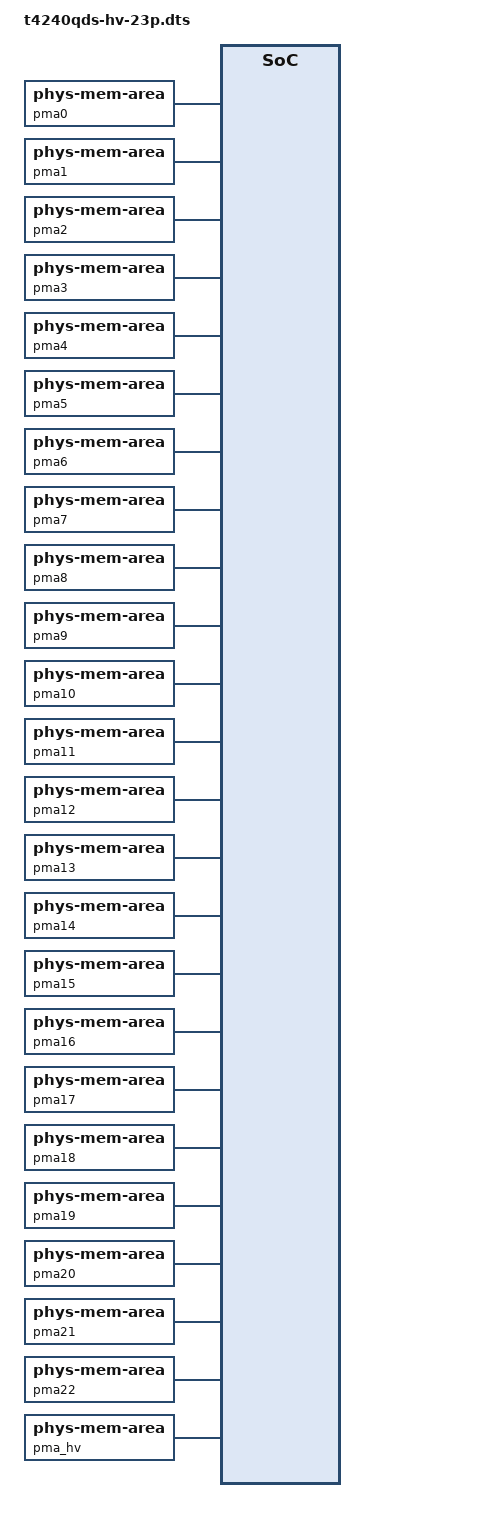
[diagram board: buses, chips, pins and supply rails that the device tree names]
/* Hypervisor Configuration tree containing all hypervisor configuration
 * parameters and partition definition information.
 * (Note -- Please refer to Hypervisor SW Reference Manual
 * (Chapter 5 Configuration) for further details)
 *
 * Copyright 2014 Freescale Semiconductor, Inc.
 */

/dts-v1/;

/ {
	compatible = "fsl,hv-config";
	pma0:pma0 {
		compatible = "phys-mem-area";
		addr = <0x0 0x00000000>;
		size = <0x0 0x10000000>;
	};
	pma1:pma1 {
		compatible = "phys-mem-area";
		addr = <0x0 0x10000000>;
		size = <0x0 0x10000000>;
	};
	pma2:pma2 {
		compatible = "phys-mem-area";
		addr = <0x0 0x20000000>;
		size = <0x0 0x10000000>;
	};
	pma3:pma3 {
		compatible = "phys-mem-area";
		addr = <0x0 0x30000000>;
		size = <0x0 0x10000000>;
	};
	pma4:pma4 {
		compatible = "phys-mem-area";
		addr = <0x0 0x40000000>;
		size = <0x0 0x10000000>;
	};
	pma5:pma5 {
		compatible = "phys-mem-area";
		addr = <0x0 0x50000000>;
		size = <0x0 0x10000000>;
	};
	pma6:pma6 {
		compatible = "phys-mem-area";
		addr = <0x0 0x60000000>;
		size = <0x0 0x10000000>;
	};
	pma7:pma7 {
		compatible = "phys-mem-area";
		addr = <0x0 0x70000000>;
		size = <0x0 0x10000000>;
	};
	pma8:pma8 {
		compatible = "phys-mem-area";
		addr = <0x0 0x80000000>;
		size = <0x0 0x10000000>;
	};
	pma9:pma9 {
		compatible = "phys-mem-area";
		addr = <0x0 0x90000000>;
		size = <0x0 0x10000000>;
	};
	pma10:pma10 {
		compatible = "phys-mem-area";
		addr = <0x0 0xa0000000>;
		size = <0x0 0x10000000>;
	};
	pma11:pma11 {
		compatible = "phys-mem-area";
		addr = <0x0 0xb0000000>;
		size = <0x0 0x10000000>;
	};
	pma12:pma12 {
		compatible = "phys-mem-area";
		addr = <0x0 0xc0000000>;
		size = <0x0 0x10000000>;
	};
	pma13:pma13 {
		compatible = "phys-mem-area";
		addr = <0x0 0xd0000000>;
		size = <0x0 0x10000000>;
	};
	pma14:pma14 {
		compatible = "phys-mem-area";
		addr = <0x0 0xe0000000>;
		size = <0x0 0x10000000>;
	};
	pma15:pma15 {
		compatible = "phys-mem-area";
		addr = <0x0 0xf0000000>;
		size = <0x0 0x10000000>;
	};
	pma16:pma16 {
		compatible = "phys-mem-area";
		addr = <0x1 0x00000000>;
		size = <0x0 0x10000000>;
	};
	pma17:pma17 {
		compatible = "phys-mem-area";
		addr = <0x1 0x10000000>;
		size = <0x0 0x10000000>;
	};
	pma18:pma18 {
		compatible = "phys-mem-area";
		addr = <0x1 0x20000000>;
		size = <0x0 0x10000000>;
	};
	pma19:pma19 {
		compatible = "phys-mem-area";
		addr = <0x1 0x30000000>;
		size = <0x0 0x10000000>;
	};
	pma20:pma20 {
		compatible = "phys-mem-area";
		addr = <0x1 0x40000000>;
		size = <0x0 0x10000000>;
	};
	pma21:pma21 {
		compatible = "phys-mem-area";
		addr = <0x1 0x50000000>;
		size = <0x0 0x10000000>;
	};
	pma22:pma22 {
		compatible = "phys-mem-area";
		addr = <0x1 0x60000000>;
		size = <0x0 0x10000000>;
	};

	pma_hv:pma_hv {
		compatible = "phys-mem-area";
		addr = <0x1 0x70000000>;
		size = <0x0 0x01000000>;
	};

	dma-windows {
		window0: window0 {
			compatible = "dma-window";
			guest-addr = <0x0 0x0>;
			size = <0x0 0x10000000>;
		};
		window1: window1 {
			compatible = "dma-window";
			guest-addr = <0x0 0x0>;
			size = <0x0 0x10000000>;
		};
		window2: window2 {
			compatible = "dma-window";
			guest-addr = <0x0 0x0>;
			size = <0x0 0x10000000>;
		};
		window3: window3 {
			compatible = "dma-window";
			guest-addr = <0x0 0x0>;
			size = <0x0 0x10000000>;
		};
		window4: window4 {
			compatible = "dma-window";
			guest-addr = <0x0 0x0>;
			size = <0x0 0x10000000>;
		};
		window5: window5 {
			compatible = "dma-window";
			guest-addr = <0x0 0x0>;
			size = <0x0 0x10000000>;
		};
		window6: window6 {
			compatible = "dma-window";
			guest-addr = <0x0 0x0>;
			size = <0x0 0x10000000>;
		};
		window7: window7 {
			compatible = "dma-window";
			guest-addr = <0x0 0x0>;
			size = <0x0 0x10000000>;
		};
		window8: window8 {
			compatible = "dma-window";
			guest-addr = <0x0 0x0>;
			size = <0x0 0x10000000>;
		};
		window9: window9 {
			compatible = "dma-window";
			guest-addr = <0x0 0x0>;
			size = <0x0 0x10000000>;
		};
		window10: window10 {
			compatible = "dma-window";
			guest-addr = <0x0 0x0>;
			size = <0x0 0x10000000>;
		};
		window11: window11 {
			compatible = "dma-window";
			guest-addr = <0x0 0x0>;
			size = <0x0 0x10000000>;
		};
		window12: window12 {
			compatible = "dma-window";
			guest-addr = <0x0 0x0>;
			size = <0x0 0x10000000>;
		};
		window13: window13 {
			compatible = "dma-window";
			guest-addr = <0x0 0x0>;
			size = <0x0 0x10000000>;
		};
		window14: window14 {
			compatible = "dma-window";
			guest-addr = <0x0 0x0>;
			size = <0x0 0x10000000>;
		};
		window15: window15 {
			compatible = "dma-window";
			guest-addr = <0x0 0x0>;
			size = <0x0 0x10000000>;
		};
		window16: window16 {
			compatible = "dma-window";
			guest-addr = <0x0 0x0>;
			size = <0x0 0x10000000>;
		};
		window17: window17 {
			compatible = "dma-window";
			guest-addr = <0x0 0x0>;
			size = <0x0 0x10000000>;
		};
		window18: window18 {
			compatible = "dma-window";
			guest-addr = <0x0 0x0>;
			size = <0x0 0x10000000>;
		};
		window19: window19 {
			compatible = "dma-window";
			guest-addr = <0x0 0x0>;
			size = <0x0 0x10000000>;
		};
		window20: window20 {
			compatible = "dma-window";
			guest-addr = <0x0 0x0>;
			size = <0x0 0x10000000>;
		};
		window21: window21 {
			compatible = "dma-window";
			guest-addr = <0x0 0x0>;
			size = <0x0 0x10000000>;
		};
		window22: window22 {
			compatible = "dma-window";
			guest-addr = <0x0 0x0>;
			size = <0x0 0x10000000>;
		};
	};

	hv:hypervisor-config {
		compatible = "hv-config";
		stdout = <&hvbc>;

		hvbc: byte-channel {
			compatible = "byte-channel";
			endpoint = <&uartmux>;
			mux-channel = <0>;
		};

		hv-memory {
			compatible = "hv-memory";
			phys-mem = <&pma_hv>;
		};

		uart0:serial0 {
			device = "serial0";
		};

		serial1:serial1 {
			device = "serial1";
		};

		mpic {
			device = "/soc/pic";
		};

		cpc {
			device = "/soc/l3-cache-controller";
		};

		corenet-law {
			device = "/soc/corenet-law";
		};

		corenet-cf {
			device = "/soc/corenet-cf";
		};

		guts {
			device = "/soc/global-utilities@e0000";
		};
	};

	uartmux: uartmux {
		compatible = "byte-channel-mux";
		endpoint = <&uart0>;
	};

	part0 {
		compatible = "partition";
		label = "p0-linux";
		cpus = <0 1>;
		guest-image = <0xf 0xe8020000 0 0 0 0x00e00000>;
		linux-rootfs = <0xf 0xe9300000 0 0x01300000 0 0x02800000>;
		dtb-window = <0 0x1000000 0 0x10000>;
		no-dma-disable;
		direct-guest-tlb-management;
		direct-guest-tlb-miss;

		gpma0 {
			compatible = "guest-phys-mem-area";
			phys-mem = <&pma0>;
			guest-addr = <0 0>;
		};

		p0bc: byte-channel {
			compatible = "byte-channel";
			endpoint = <&uartmux>;
			mux-channel = <1>;
		};

		aliases {
			stdout = <&p0bc>;
		};
	};

	part1 {
		compatible = "partition";
		label = "p1-linux";
		cpus = <1 1>;
		guest-image = <0xf 0xe8020000 0 0 0 0x00e00000>;
		linux-rootfs = <0xf 0xe9300000 0 0x01300000 0 0x02800000>;
		dtb-window = <0 0x1000000 0 0x10000>;
		no-dma-disable;
		direct-guest-tlb-management;
		direct-guest-tlb-miss;

		gpma1 {
			compatible = "guest-phys-mem-area";
			phys-mem = <&pma1>;
			guest-addr = <0 0>;
		};

		p1bc: byte-channel {
			compatible = "byte-channel";
			endpoint = <&uartmux>;
			mux-channel = <2>;
		};

		aliases {
			stdout = <&p1bc>;
		};
	};

	part2 {
		compatible = "partition";
		label = "p2-linux";
		cpus = <2 1>;
		guest-image = <0xf 0xe8020000 0 0 0 0x00e00000>;
		linux-rootfs = <0xf 0xe9300000 0 0x01300000 0 0x02800000>;
		dtb-window = <0 0x1000000 0 0x10000>;
		no-dma-disable;
		direct-guest-tlb-management;
		direct-guest-tlb-miss;

		gpma2 {
			compatible = "guest-phys-mem-area";
			phys-mem = <&pma2>;
			guest-addr = <0 0>;
		};

		p2bc: byte-channel {
			compatible = "byte-channel";
			endpoint = <&uartmux>;
			mux-channel = <3>;
		};

		aliases {
			stdout = <&p2bc>;
		};
	};

	part3 {
		compatible = "partition";
		label = "p3-linux";
		cpus = <3 1>;
		guest-image = <0xf 0xe8020000 0 0 0 0x00e00000>;
		linux-rootfs = <0xf 0xe9300000 0 0x01300000 0 0x02800000>;
		dtb-window = <0 0x1000000 0 0x10000>;
		no-dma-disable;
		direct-guest-tlb-management;
		direct-guest-tlb-miss;

		gpma3 {
			compatible = "guest-phys-mem-area";
			phys-mem = <&pma3>;
			guest-addr = <0 0>;
		};

		p3bc: byte-channel {
			compatible = "byte-channel";
			endpoint = <&uartmux>;
			mux-channel = <4>;
		};

		aliases {
			stdout = <&p3bc>;
		};
	};

	part4 {
		compatible = "partition";
		label = "p4-linux";
		cpus = <4 1>;
		guest-image = <0xf 0xe8020000 0 0 0 0x00e00000>;
		linux-rootfs = <0xf 0xe9300000 0 0x01300000 0 0x02800000>;
		dtb-window = <0 0x1000000 0 0x10000>;
		no-dma-disable;
		direct-guest-tlb-management;
		direct-guest-tlb-miss;

		gpma4 {
			compatible = "guest-phys-mem-area";
			phys-mem = <&pma4>;
			guest-addr = <0 0>;
		};

		p4bc: byte-channel {
			compatible = "byte-channel";
			endpoint = <&uartmux>;
			mux-channel = <5>;
		};

		aliases {
			stdout = <&p4bc>;
		};
	};

	part5 {
		compatible = "partition";
		label = "p5-linux";
		cpus = <5 1>;
		guest-image = <0xf 0xe8020000 0 0 0 0x00e00000>;
		linux-rootfs = <0xf 0xe9300000 0 0x01300000 0 0x02800000>;
		dtb-window = <0 0x1000000 0 0x10000>;
		no-dma-disable;
		direct-guest-tlb-management;
		direct-guest-tlb-miss;

		gpma5 {
			compatible = "guest-phys-mem-area";
			phys-mem = <&pma5>;
			guest-addr = <0 0>;
		};

		p5bc: byte-channel {
			compatible = "byte-channel";
			endpoint = <&uartmux>;
			mux-channel = <6>;
		};

		aliases {
			stdout = <&p5bc>;
		};
	};

	part6 {
		compatible = "partition";
		label = "p6-linux";
		cpus = <6 1>;
		guest-image = <0xf 0xe8020000 0 0 0 0x00e00000>;
		linux-rootfs = <0xf 0xe9300000 0 0x01300000 0 0x02800000>;
		dtb-window = <0 0x1000000 0 0x10000>;
		no-dma-disable;
		direct-guest-tlb-management;
		direct-guest-tlb-miss;

		gpma6 {
			compatible = "guest-phys-mem-area";
			phys-mem = <&pma6>;
			guest-addr = <0 0>;
		};

		p6bc: byte-channel {
			compatible = "byte-channel";
			endpoint = <&uartmux>;
			mux-channel = <7>;
		};

		aliases {
			stdout = <&p6bc>;
		};
	};

	part7 {
		compatible = "partition";
		label = "p7-linux";
		cpus = <7 1>;
		guest-image = <0xf 0xe8020000 0 0 0 0x00e00000>;
		linux-rootfs = <0xf 0xe9300000 0 0x01300000 0 0x02800000>;
		dtb-window = <0 0x1000000 0 0x10000>;
		no-dma-disable;
		direct-guest-tlb-management;
		direct-guest-tlb-miss;

		gpma7 {
			compatible = "guest-phys-mem-area";
			phys-mem = <&pma7>;
			guest-addr = <0 0>;
		};

		p7bc: byte-channel {
			compatible = "byte-channel";
			endpoint = <&uartmux>;
			mux-channel = <8>;
		};

		aliases {
			stdout = <&p7bc>;
		};
	};

	part8 {
		compatible = "partition";
		label = "p8-linux";
		cpus = <8 1>;
		guest-image = <0xf 0xe8020000 0 0 0 0x00e00000>;
		linux-rootfs = <0xf 0xe9300000 0 0x01300000 0 0x02800000>;
		dtb-window = <0 0x1000000 0 0x10000>;
		no-dma-disable;
		direct-guest-tlb-management;
		direct-guest-tlb-miss;

		gpma8 {
			compatible = "guest-phys-mem-area";
			phys-mem = <&pma8>;
			guest-addr = <0 0>;
		};

		p8bc: byte-channel {
			compatible = "byte-channel";
			endpoint = <&uartmux>;
			mux-channel = <9>;
		};

		aliases {
			stdout = <&p8bc>;
		};
	};

	part9 {
		compatible = "partition";
		label = "p9-linux";
		cpus = <9 1>;
		guest-image = <0xf 0xe8020000 0 0 0 0x00e00000>;
		linux-rootfs = <0xf 0xe9300000 0 0x01300000 0 0x02800000>;
		dtb-window = <0 0x1000000 0 0x10000>;
		no-dma-disable;
		direct-guest-tlb-management;
		direct-guest-tlb-miss;

		gpma9 {
			compatible = "guest-phys-mem-area";
			phys-mem = <&pma9>;
			guest-addr = <0 0>;
		};

		p9bc: byte-channel {
			compatible = "byte-channel";
			endpoint = <&uartmux>;
			mux-channel = <10>;
		};

		aliases {
			stdout = <&p9bc>;
		};
	};

	part10 {
		compatible = "partition";
		label = "p10-linux";
		cpus = <10 1>;
		guest-image = <0xf 0xe8020000 0 0 0 0x00e00000>;
		linux-rootfs = <0xf 0xe9300000 0 0x01300000 0 0x02800000>;
		dtb-window = <0 0x1000000 0 0x10000>;
		no-dma-disable;
		direct-guest-tlb-management;
		direct-guest-tlb-miss;

		gpma10 {
			compatible = "guest-phys-mem-area";
			phys-mem = <&pma10>;
			guest-addr = <0 0>;
		};

		p10bc: byte-channel {
			compatible = "byte-channel";
			endpoint = <&uartmux>;
			mux-channel = <11>;
		};

		aliases {
			stdout = <&p10bc>;
		};
	};

	part11 {
		compatible = "partition";
		label = "p11-linux";
		cpus = <11 1>;
		guest-image = <0xf 0xe8020000 0 0 0 0x00e00000>;
		linux-rootfs = <0xf 0xe9300000 0 0x01300000 0 0x02800000>;
		dtb-window = <0 0x1000000 0 0x10000>;
		no-dma-disable;
		direct-guest-tlb-management;
		direct-guest-tlb-miss;

		gpma11 {
			compatible = "guest-phys-mem-area";
			phys-mem = <&pma11>;
			guest-addr = <0 0>;
		};

		p11bc: byte-channel {
			compatible = "byte-channel";
			endpoint = <&uartmux>;
			mux-channel = <12>;
		};

		aliases {
			stdout = <&p11bc>;
		};
	};

	part12 {
		compatible = "partition";
		label = "p12-linux";
		cpus = <12 1>;
		guest-image = <0xf 0xe8020000 0 0 0 0x00e00000>;
		linux-rootfs = <0xf 0xe9300000 0 0x01300000 0 0x02800000>;
		dtb-window = <0 0x1000000 0 0x10000>;
		no-dma-disable;
		direct-guest-tlb-management;
		direct-guest-tlb-miss;

		gpma12 {
			compatible = "guest-phys-mem-area";
			phys-mem = <&pma12>;
			guest-addr = <0 0>;
		};

		p12bc: byte-channel {
			compatible = "byte-channel";
			endpoint = <&uartmux>;
			mux-channel = <13>;
		};

		aliases {
			stdout = <&p12bc>;
		};
	};

	part13 {
		compatible = "partition";
		label = "p13-linux";
		cpus = <13 1>;
		guest-image = <0xf 0xe8020000 0 0 0 0x00e00000>;
		linux-rootfs = <0xf 0xe9300000 0 0x01300000 0 0x02800000>;
		dtb-window = <0 0x1000000 0 0x10000>;
		no-dma-disable;
		direct-guest-tlb-management;
		direct-guest-tlb-miss;

		gpma13 {
			compatible = "guest-phys-mem-area";
			phys-mem = <&pma13>;
			guest-addr = <0 0>;
		};

		p13bc: byte-channel {
			compatible = "byte-channel";
			endpoint = <&uartmux>;
			mux-channel = <14>;
		};

		aliases {
			stdout = <&p13bc>;
		};
	};

	part14 {
		compatible = "partition";
		label = "p14-linux";
		cpus = <14 1>;
		guest-image = <0xf 0xe8020000 0 0 0 0x00e00000>;
		linux-rootfs = <0xf 0xe9300000 0 0x01300000 0 0x02800000>;
		dtb-window = <0 0x1000000 0 0x10000>;
		no-dma-disable;
		direct-guest-tlb-management;
		direct-guest-tlb-miss;

		gpma14 {
			compatible = "guest-phys-mem-area";
			phys-mem = <&pma14>;
			guest-addr = <0 0>;
		};

		p14bc: byte-channel {
			compatible = "byte-channel";
			endpoint = <&uartmux>;
			mux-channel = <15>;
		};

		aliases {
			stdout = <&p14bc>;
		};
	};

	part15 {
		compatible = "partition";
		label = "p15-linux";
		cpus = <15 1>;
		guest-image = <0xf 0xe8020000 0 0 0 0x00e00000>;
		linux-rootfs = <0xf 0xe9300000 0 0x01300000 0 0x02800000>;
		dtb-window = <0 0x1000000 0 0x10000>;
		no-dma-disable;
		direct-guest-tlb-management;
		direct-guest-tlb-miss;

		gpma15 {
			compatible = "guest-phys-mem-area";
			phys-mem = <&pma15>;
			guest-addr = <0 0>;
		};

		p15bc: byte-channel {
			compatible = "byte-channel";
			endpoint = <&uartmux>;
			mux-channel = <16>;
		};

		aliases {
			stdout = <&p15bc>;
		};
	};

	part16 {
		compatible = "partition";
		label = "p16-linux";
		cpus = <16 1>;
		guest-image = <0xf 0xe8020000 0 0 0 0x00e00000>;
		linux-rootfs = <0xf 0xe9300000 0 0x01300000 0 0x02800000>;
		dtb-window = <0 0x1000000 0 0x10000>;
		no-dma-disable;
		direct-guest-tlb-management;
		direct-guest-tlb-miss;

		gpma16 {
			compatible = "guest-phys-mem-area";
			phys-mem = <&pma16>;
			guest-addr = <0 0>;
		};

		p16bc: byte-channel {
			compatible = "byte-channel";
			endpoint = <&uartmux>;
			mux-channel = <17>;
		};

		aliases {
			stdout = <&p16bc>;
		};
	};

	part17 {
		compatible = "partition";
		label = "p17-linux";
		cpus = <17 1>;
		guest-image = <0xf 0xe8020000 0 0 0 0x00e00000>;
		linux-rootfs = <0xf 0xe9300000 0 0x01300000 0 0x02800000>;
		dtb-window = <0 0x1000000 0 0x10000>;
		no-dma-disable;
		direct-guest-tlb-management;
		direct-guest-tlb-miss;

		gpma17 {
			compatible = "guest-phys-mem-area";
			phys-mem = <&pma17>;
			guest-addr = <0 0>;
		};

		p17bc: byte-channel {
			compatible = "byte-channel";
			endpoint = <&uartmux>;
			mux-channel = <18>;
		};

		aliases {
			stdout = <&p17bc>;
		};
	};

	part18 {
		compatible = "partition";
		label = "p18-linux";
		cpus = <18 1>;
		guest-image = <0xf 0xe8020000 0 0 0 0x00e00000>;
		linux-rootfs = <0xf 0xe9300000 0 0x01300000 0 0x02800000>;
		dtb-window = <0 0x1000000 0 0x10000>;
		no-dma-disable;
		direct-guest-tlb-management;
		direct-guest-tlb-miss;

		gpma18 {
			compatible = "guest-phys-mem-area";
			phys-mem = <&pma18>;
			guest-addr = <0 0>;
		};

		p18bc: byte-channel {
			compatible = "byte-channel";
			endpoint = <&uartmux>;
			mux-channel = <19>;
		};

		aliases {
			stdout = <&p18bc>;
		};
	};

	part19 {
		compatible = "partition";
		label = "p19-linux";
		cpus = <19 1>;
		guest-image = <0xf 0xe8020000 0 0 0 0x00e00000>;
		linux-rootfs = <0xf 0xe9300000 0 0x01300000 0 0x02800000>;
		dtb-window = <0 0x1000000 0 0x10000>;
		no-dma-disable;
		direct-guest-tlb-management;
		direct-guest-tlb-miss;

		gpma19 {
			compatible = "guest-phys-mem-area";
			phys-mem = <&pma19>;
			guest-addr = <0 0>;
		};

		p19bc: byte-channel {
			compatible = "byte-channel";
			endpoint = <&uartmux>;
			mux-channel = <20>;
		};

		aliases {
			stdout = <&p19bc>;
		};
	};

	part20 {
		compatible = "partition";
		label = "p20-linux";
		cpus = <20 1>;
		guest-image = <0xf 0xe8020000 0 0 0 0x00e00000>;
		linux-rootfs = <0xf 0xe9300000 0 0x01300000 0 0x02800000>;
		dtb-window = <0 0x1000000 0 0x10000>;
		no-dma-disable;
		direct-guest-tlb-management;
		direct-guest-tlb-miss;

		gpma20 {
			compatible = "guest-phys-mem-area";
			phys-mem = <&pma20>;
			guest-addr = <0 0>;
		};

		p20bc: byte-channel {
			compatible = "byte-channel";
			endpoint = <&uartmux>;
			mux-channel = <21>;
		};

		aliases {
			stdout = <&p20bc>;
		};
	};

	part21 {
		compatible = "partition";
		label = "p21-linux";
		cpus = <21 1>;
		guest-image = <0xf 0xe8020000 0 0 0 0x00e00000>;
		linux-rootfs = <0xf 0xe9300000 0 0x01300000 0 0x02800000>;
		dtb-window = <0 0x1000000 0 0x10000>;
		no-dma-disable;
		direct-guest-tlb-management;
		direct-guest-tlb-miss;

		gpma21 {
			compatible = "guest-phys-mem-area";
			phys-mem = <&pma21>;
			guest-addr = <0 0>;
		};

		p21bc: byte-channel {
			compatible = "byte-channel";
			endpoint = <&uartmux>;
			mux-channel = <22>;
		};

		aliases {
			stdout = <&p21bc>;
		};
	};

	part22 {
		compatible = "partition";
		label = "p22-linux";
		cpus = <22 1>;
		guest-image = <0xf 0xe8020000 0 0 0 0x00e00000>;
		linux-rootfs = <0xf 0xe9300000 0 0x01300000 0 0x02800000>;
		dtb-window = <0 0x1000000 0 0x10000>;
		no-dma-disable;
		direct-guest-tlb-management;
		direct-guest-tlb-miss;

		gpma22 {
			compatible = "guest-phys-mem-area";
			phys-mem = <&pma22>;
			guest-addr = <0 0>;
		};

		p22bc: byte-channel {
			compatible = "byte-channel";
			endpoint = <&uartmux>;
			mux-channel = <23>;
		};

		aliases {
			stdout = <&p22bc>;
		};
	};
};
